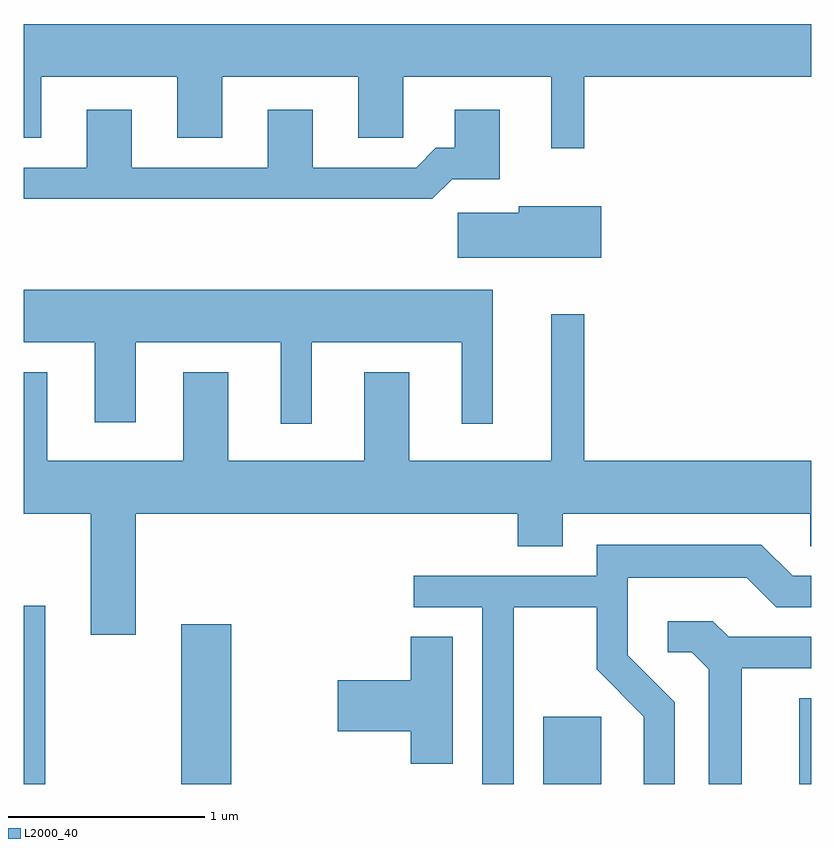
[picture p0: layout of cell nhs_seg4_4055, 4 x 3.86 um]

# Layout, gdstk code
import gdstk
lib = gdstk.Library(unit=1e-6, precision=1e-09)
def R(c, l, rs):  # rectangles x0, y0, x1, y1
    for r in rs: c.add(gdstk.rectangle(r[:2], r[2:], *l))
def P(c, l, *ps):  # polygons
    for p in ps: c.add(gdstk.Polygon(p, *l))
L2000_40 = (2000, 40)

nhs_seg4_4055 = lib.new_cell('nhs_seg4_4055')
R(nhs_seg4_4055, L2000_40, [(303.611,1339.982,303.719,1340.889), (304.411,1339.982,304.664,1340.794), (306.251,1339.982,306.544,1340.324), (307.551,1339.982,307.611,1340.419)])
P(nhs_seg4_4055, L2000_40, [(303.611,1343.266),(303.699,1343.266),(303.699,1343.576),(304.391,1343.576),(304.391,1343.266),(304.619,1343.266),(304.619,1343.576),(305.311,1343.576),(305.311,1343.266),(305.539,1343.266),(305.539,1343.576),(306.291,1343.576),(306.291,1343.213),(306.459,1343.213),(306.459,1343.576),(307.611,1343.576),(307.611,1343.844),(303.611,1343.844)],
  [(305.787,1343.056),(306.029,1343.056),(306.029,1343.409),(305.801,1343.409),(305.801,1343.214),(305.704,1343.214),(305.604,1343.114),(305.079,1343.114),(305.079,1343.409),(304.851,1343.409),(304.851,1343.114),(304.159,1343.114),(304.159,1343.409),(303.931,1343.409),(303.931,1343.114),(303.611,1343.114),(303.611,1342.956),(305.687,1342.956)],
  [(306.544,1342.919),(306.126,1342.919),(306.126,1342.884),(305.816,1342.884),(305.816,1342.656),(306.544,1342.656)],
  [(305.074,1342.226),(305.836,1342.226),(305.836,1341.813),(305.994,1341.813),(305.994,1342.494),(303.611,1342.494),(303.611,1342.226),(303.971,1342.226),(303.971,1341.821),(304.179,1341.821),(304.179,1342.226),(304.916,1342.226),(304.916,1341.813),(305.074,1341.813)],
  [(304.179,1341.356),(306.121,1341.356),(306.121,1341.191),(306.349,1341.191),(306.349,1341.356),(307.606,1341.356),(307.606,1341.191),(307.611,1341.191),(307.611,1341.624),(306.459,1341.624),(306.459,1342.368),(306.291,1342.368),(306.291,1341.624),(305.569,1341.624),(305.569,1342.074),(305.341,1342.074),(305.341,1341.624),(304.649,1341.624),(304.649,1342.074),(304.421,1342.074),(304.421,1341.624),(303.729,1341.624),(303.729,1342.074),(303.611,1342.074),(303.611,1341.356),(303.951,1341.356),(303.951,1340.741),(304.179,1340.741)],
  [(306.099,1340.881),(306.521,1340.881),(306.521,1340.564),(306.761,1340.324),(306.761,1339.982),(306.919,1339.982),(306.919,1340.397),(306.679,1340.637),(306.679,1341.031),(307.284,1341.031),(307.434,1340.881),(307.611,1340.881),(307.611,1341.039),(307.517,1341.039),(307.357,1341.199),(306.521,1341.199),(306.521,1341.039),(305.593,1341.039),(305.593,1340.881),(305.941,1340.881),(305.941,1339.982),(306.099,1339.982)],
  [(307.259,1340.571),(307.611,1340.571),(307.611,1340.729),(307.192,1340.729),(307.112,1340.809),(306.883,1340.809),(306.883,1340.651),(307.004,1340.651),(307.091,1340.564),(307.091,1339.982),(307.259,1339.982)],
  [(305.789,1340.729),(305.576,1340.729),(305.576,1340.509),(305.206,1340.509),(305.206,1340.251),(305.576,1340.251),(305.576,1340.086),(305.789,1340.086)])

lib.write_gds('nhs_seg4_4055.gds')
